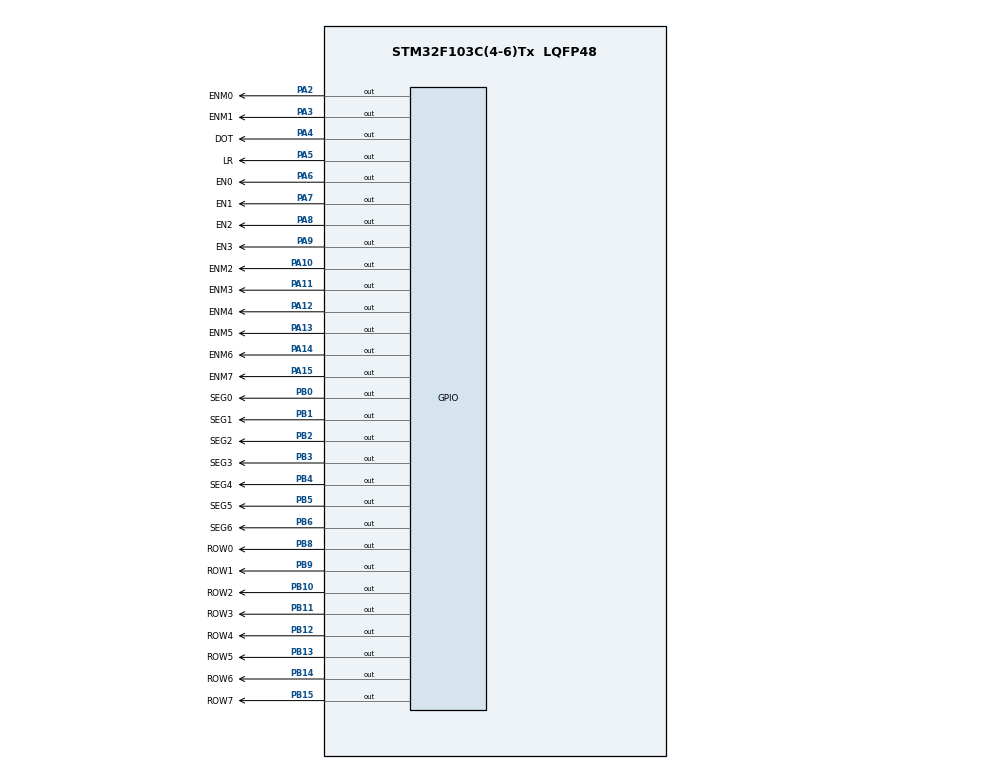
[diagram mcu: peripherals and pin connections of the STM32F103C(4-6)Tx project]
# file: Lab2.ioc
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Mcu.Family=STM32F1
Mcu.Name=STM32F103C(4-6)Tx
Mcu.Package=LQFP48
NVIC.PriorityGroup=NVIC_PRIORITYGROUP_4
NVIC.TIM2_IRQn=true\:0\:0\:false\:false\:true\:true\:true
PA10.GPIO_Label=ENM2
PA10.Signal=GPIO_Output
PA11.GPIO_Label=ENM3
PA11.Signal=GPIO_Output
PA12.GPIO_Label=ENM4
PA12.Signal=GPIO_Output
PA13.GPIO_Label=ENM5
PA13.Signal=GPIO_Output
PA14.GPIO_Label=ENM6
PA14.Signal=GPIO_Output
PA15.GPIO_Label=ENM7
PA15.Signal=GPIO_Output
PA2.GPIO_Label=ENM0
PA2.Signal=GPIO_Output
PA3.GPIO_Label=ENM1
PA3.Signal=GPIO_Output
PA4.GPIO_Label=DOT
PA4.Signal=GPIO_Output
PA5.GPIO_Label=LR
PA5.Signal=GPIO_Output
PA6.GPIO_Label=EN0
PA6.Signal=GPIO_Output
PA7.GPIO_Label=EN1
PA7.Signal=GPIO_Output
PA8.GPIO_Label=EN2
PA8.Signal=GPIO_Output
PA9.GPIO_Label=EN3
PA9.Signal=GPIO_Output
PB0.GPIO_Label=SEG0
PB0.Signal=GPIO_Output
PB1.GPIO_Label=SEG1
PB1.Signal=GPIO_Output
PB10.GPIO_Label=ROW2
PB10.Signal=GPIO_Output
PB11.GPIO_Label=ROW3
PB11.Signal=GPIO_Output
PB12.GPIO_Label=ROW4
PB12.Signal=GPIO_Output
PB13.GPIO_Label=ROW5
PB13.Signal=GPIO_Output
PB14.GPIO_Label=ROW6
PB14.Signal=GPIO_Output
PB15.GPIO_Label=ROW7
PB15.Signal=GPIO_Output
PB2.GPIO_Label=SEG2
PB2.Signal=GPIO_Output
PB3.GPIO_Label=SEG3
PB3.Signal=GPIO_Output
PB4.GPIO_Label=SEG4
PB4.Signal=GPIO_Output
PB5.GPIO_Label=SEG5
PB5.Signal=GPIO_Output
PB6.GPIO_Label=SEG6
PB6.Signal=GPIO_Output
PB8.GPIO_Label=ROW0
PB8.Signal=GPIO_Output
PB9.GPIO_Label=ROW1
PB9.Signal=GPIO_Output
ProjectManager.HeapSize=0x200
ProjectManager.StackSize=0x400
ProjectManager.TargetToolchain=STM32CubeIDE
RCC.APB1Freq_Value=8000000
RCC.APB2Freq_Value=8000000
TIM2.Period=9
TIM2.Prescaler=7999
VP_SYS_VS_ND.Mode=No_Debug
VP_TIM2_VS_ClockSourceINT.Mode=Internal
board=custom

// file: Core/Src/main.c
/* USER CODE BEGIN Header */
/**
  ******************************************************************************
  * @file           : main.c
  * @brief          : Main program body
  ******************************************************************************
  * @attention
  *
  * <h2><center>&copy; Copyright (c) 2022 STMicroelectronics.
  * All rights reserved.</center></h2>
  *
  * This software component is licensed by ST under BSD 3-Clause license,
  * the "License"; You may not use this file except in compliance with the
  * License. You may obtain a copy of the License at:
  *                        opensource.org/licenses/BSD-3-Clause
  *
  ******************************************************************************
  */
/* USER CODE END Header */
#include "main.h"

TIM_HandleTypeDef htim2;

void SystemClock_Config(void);
static void MX_GPIO_Init(void);
static void MX_TIM2_Init(void);

int main(void)
{

  /* MCU Configuration--------------------------------------------------------*/

  /* Reset of all peripherals, Initializes the Flash interface and the Systick. */
  HAL_Init();

  /* Configure the system clock */
  SystemClock_Config();

  /* Initialize all configured peripherals */
  MX_GPIO_Init();
  MX_TIM2_Init();
  /* USER CODE BEGIN 2 */
  HAL_TIM_Base_Start_IT(&htim2);
  /* USER CODE END 2 */

  /* Infinite loop */
  while (1)
  {

  }
}

void SystemClock_Config(void)
{
  RCC_OscInitTypeDef RCC_OscInitStruct = {0};
  RCC_ClkInitTypeDef RCC_ClkInitStruct = {0};

  /** Initializes the RCC Oscillators according to the specified parameters
  * in the RCC_OscInitTypeDef structure.
  */
  RCC_OscInitStruct.OscillatorType = RCC_OSCILLATORTYPE_HSI;
  RCC_OscInitStruct.HSIState = RCC_HSI_ON;
  RCC_OscInitStruct.HSICalibrationValue = RCC_HSICALIBRATION_DEFAULT;
  RCC_OscInitStruct.PLL.PLLState = RCC_PLL_NONE;
  if (HAL_RCC_OscConfig(&RCC_OscInitStruct) != HAL_OK)
  {
    Error_Handler();
  }
  /** Initializes the CPU, AHB and APB buses clocks
  */
  RCC_ClkInitStruct.ClockType = RCC_CLOCKTYPE_HCLK|RCC_CLOCKTYPE_SYSCLK
                              |RCC_CLOCKTYPE_PCLK1|RCC_CLOCKTYPE_PCLK2;
  RCC_ClkInitStruct.SYSCLKSource = RCC_SYSCLKSOURCE_HSI;
  RCC_ClkInitStruct.AHBCLKDivider = RCC_SYSCLK_DIV1;
  RCC_ClkInitStruct.APB1CLKDivider = RCC_HCLK_DIV1;
  RCC_ClkInitStruct.APB2CLKDivider = RCC_HCLK_DIV1;

  if (HAL_RCC_ClockConfig(&RCC_ClkInitStruct, FLASH_LATENCY_0) != HAL_OK)
  {
    Error_Handler();
  }
}

static void MX_TIM2_Init(void)
{

  TIM_ClockConfigTypeDef sClockSourceConfig = {0};
  TIM_MasterConfigTypeDef sMasterConfig = {0};

  htim2.Instance = TIM2;
  htim2.Init.Prescaler = 7999;
  htim2.Init.CounterMode = TIM_COUNTERMODE_UP;
  htim2.Init.Period = 9;
  htim2.Init.ClockDivision = TIM_CLOCKDIVISION_DIV1;
  htim2.Init.AutoReloadPreload = TIM_AUTORELOAD_PRELOAD_DISABLE;
  if (HAL_TIM_Base_Init(&htim2) != HAL_OK)
  {
    Error_Handler();
  }
  sClockSourceConfig.ClockSource = TIM_CLOCKSOURCE_INTERNAL;
  if (HAL_TIM_ConfigClockSource(&htim2, &sClockSourceConfig) != HAL_OK)
  {
    Error_Handler();
  }
  sMasterConfig.MasterOutputTrigger = TIM_TRGO_RESET;
  sMasterConfig.MasterSlaveMode = TIM_MASTERSLAVEMODE_DISABLE;
  if (HAL_TIMEx_MasterConfigSynchronization(&htim2, &sMasterConfig) != HAL_OK)
  {
    Error_Handler();
  }

}

static void MX_GPIO_Init(void)
{
  GPIO_InitTypeDef GPIO_InitStruct = {0};

  /* GPIO Ports Clock Enable */
  __HAL_RCC_GPIOA_CLK_ENABLE();
  __HAL_RCC_GPIOB_CLK_ENABLE();

  /*Configure GPIO pin Output Level */
  HAL_GPIO_WritePin(GPIOA, LR_Pin|EN0_Pin|EN1_Pin, GPIO_PIN_RESET);

  /*Configure GPIO pin Output Level */
  HAL_GPIO_WritePin(GPIOB, SEG0_Pin|SEG1_Pin|SEG2_Pin|SEG3_Pin
                          |SEG4_Pin|SEG5_Pin|SEG6_Pin, GPIO_PIN_RESET);

  /*Configure GPIO pins : LR_Pin EN0_Pin EN1_Pin */
  GPIO_InitStruct.Pin = LR_Pin|EN0_Pin|EN1_Pin;
  GPIO_InitStruct.Mode = GPIO_MODE_OUTPUT_PP;
  GPIO_InitStruct.Pull = GPIO_NOPULL;
  GPIO_InitStruct.Speed = GPIO_SPEED_FREQ_LOW;
  HAL_GPIO_Init(GPIOA, &GPIO_InitStruct);

  /*Configure GPIO pins : SEG0_Pin SEG1_Pin SEG2_Pin SEG3_Pin
                           SEG4_Pin SEG5_Pin SEG6_Pin */
  GPIO_InitStruct.Pin = SEG0_Pin|SEG1_Pin|SEG2_Pin|SEG3_Pin
                          |SEG4_Pin|SEG5_Pin|SEG6_Pin;
  GPIO_InitStruct.Mode = GPIO_MODE_OUTPUT_PP;
  GPIO_InitStruct.Pull = GPIO_NOPULL;
  GPIO_InitStruct.Speed = GPIO_SPEED_FREQ_LOW;
  HAL_GPIO_Init(GPIOB, &GPIO_InitStruct);

}

/* USER CODE BEGIN 4 */
void display7SEG(int counter) {
	/* Khoi tao mot day gom gia tri bit de hien thi cac chu so lan luot tu 0 toi 9 */
	unsigned char disp_arr[10] = {0x40, 0x79, 0x24, 0x30, 0x19, 0x12, 0x02, 0x78, 0x00, 0x10};
	/* Khoi tao bien "varr" chua gia tri bit 7 doan cua bien "counter" de hien thi con so can hien thi va bien "bit_var" */
	unsigned char bit_var, varr = disp_arr[counter];

	/* Doi voi tung doan segment, bien bit_var se lay gia tri bit cua segment do de hien thi den (0 -> Sang, 1 -> Tat) */

	bit_var = varr & 0x01; /* Den P1 */
	HAL_GPIO_WritePin(SEG0_GPIO_Port, SEG0_Pin, bit_var);

	bit_var = (varr>>1) & 0x01; /* Den P2 */
	HAL_GPIO_WritePin(SEG1_GPIO_Port, SEG1_Pin, bit_var);

	bit_var = (varr>>2) & 0x01; /* Den P3 */
	HAL_GPIO_WritePin(SEG2_GPIO_Port, SEG2_Pin, bit_var);

	bit_var = (varr>>3) & 0x01; /* Den P4 */
	HAL_GPIO_WritePin(SEG3_GPIO_Port, SEG3_Pin, bit_var);

	bit_var = (varr>>4) & 0x01; /* Den P5 */
	HAL_GPIO_WritePin(SEG4_GPIO_Port, SEG4_Pin, bit_var);

	bit_var = (varr>>5) & 0x01; /* Den P6 */
	HAL_GPIO_WritePin(SEG5_GPIO_Port, SEG5_Pin, bit_var);

	bit_var = (varr>>6) & 0x01; /* Den P7 */
	HAL_GPIO_WritePin(SEG6_GPIO_Port, SEG6_Pin, bit_var);
}

/* Khoi tao bien counter dem thoi gian va bien status the hien chuyen doi trang thai cac LEDs */
int counter = 0, status = 1;
void HAL_TIM_PeriodElapsedCallback(TIM_HandleTypeDef * htim)
{
	counter--;
	if (counter <= 0){
		counter = 50;   /* Khoang thoi gian chuyen doi trang thai giua 2 LEDs la 0.5s, nen counter se duoc dat bang 50 */
		switch(status){ /* Chia cac truong hop co the xay ra cua status */
			case 1:  /* LEDs 1 sang */
				HAL_GPIO_WritePin(EN0_GPIO_Port, EN0_Pin, RESET);
				HAL_GPIO_WritePin(EN1_GPIO_Port, EN1_Pin, SET);
				display7SEG(1);
				status = 2;
				break;
			case 2: /* LEDs 2 sang */
				HAL_GPIO_WritePin(EN0_GPIO_Port, EN0_Pin, SET);
				HAL_GPIO_WritePin(EN1_GPIO_Port, EN1_Pin, RESET);
				display7SEG(2);
				status = 1;
				break;
			default:
				break;
		}
	}
}
/* USER CODE END 4 */

void Error_Handler(void)
{
  __disable_irq();
  while (1)
  {
  }
}

/************************ (C) COPYRIGHT STMicroelectronics *****END OF FILE****/
